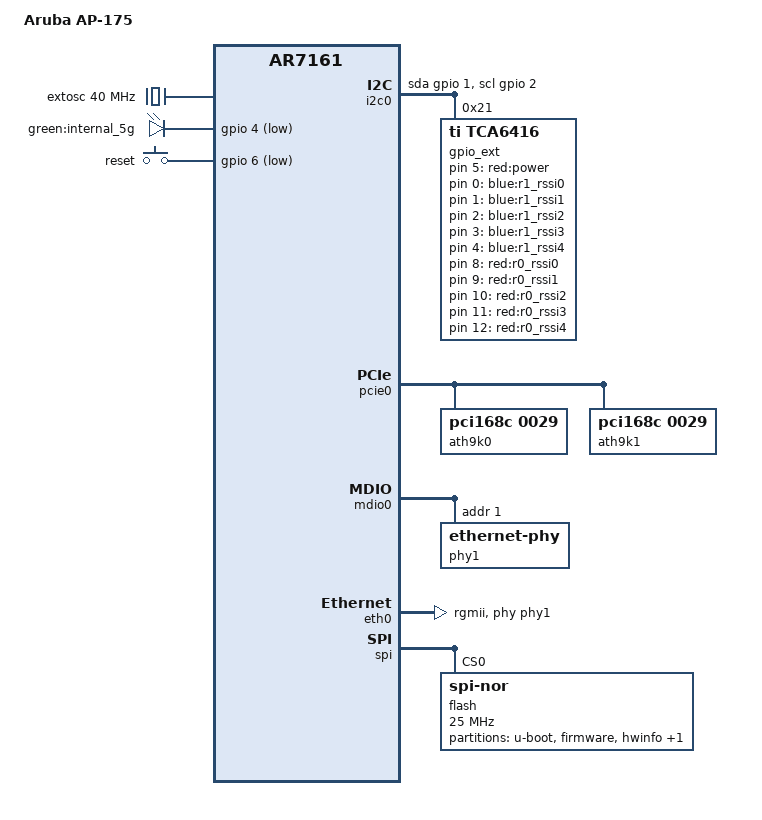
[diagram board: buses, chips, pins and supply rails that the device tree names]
// SPDX-License-Identifier: GPL-2.0-or-later OR MIT

#include "ar7100.dtsi"

#include <dt-bindings/gpio/gpio.h>
#include <dt-bindings/input/input.h>

/ {
	compatible = "aruba,ap-175", "qca,ar7161";
	model = "Aruba AP-175";

	chosen {
		bootargs = "console=ttyS0,9600";
	};

	aliases {
		led-boot = &led_power_red;
		led-failsafe = &led_power_red;
		led-upgrade = &led_power_red;
		label-mac-device = &eth0;
	};

	extosc: ref {
		compatible = "fixed-clock";
		#clock-cells = <0>;
		clock-output-names = "ref";
		clock-frequency = <40000000>;
	};

	leds {
		compatible = "gpio-leds";

		/* led_power_green: power_green { */
		/*	label = "green:power"; */
		/*	gpios = <&gpio 3 GPIO_ACTIVE_LOW>; */
		/* }; */

		led_power_red: power_red {
			label = "red:power";
			gpios = <&gpio_ext 5 GPIO_ACTIVE_HIGH>;
			panic-indicator;
		};

		/* These internal LEDs cannot be seen when case is closed */

		// TODO: find 2.4G address
		/* internal_2g_green { */
		/*	label = "green:internal_2g"; */
		/*	gpios = <&gpio 8 GPIO_ACTIVE_LOW>; */
		/* }; */

		internal_5g_green {
			label = "green:internal_5g";
			gpios = <&gpio 4 GPIO_ACTIVE_LOW>;
		};

		r1_rssi0_blue {
			label = "blue:r1_rssi0";
			gpios = <&gpio_ext 0 GPIO_ACTIVE_HIGH>;
		};

		r1_rssi1_blue {
			label = "blue:r1_rssi1";
			gpios = <&gpio_ext 1 GPIO_ACTIVE_HIGH>;
		};

		r1_rssi2_blue {
			label = "blue:r1_rssi2";
			gpios = <&gpio_ext 2 GPIO_ACTIVE_HIGH>;
		};

		r1_rssi3_blue {
			label = "blue:r1_rssi3";
			gpios = <&gpio_ext 3 GPIO_ACTIVE_HIGH>;
		};

		r1_rssi4_blue {
			label = "blue:r1_rssi4";
			gpios = <&gpio_ext 4 GPIO_ACTIVE_HIGH>;
		};

		r0_rssi0_red {
			label = "red:r0_rssi0";
			gpios = <&gpio_ext 8 GPIO_ACTIVE_HIGH>;
		};

		r0_rssi1_red {
			label = "red:r0_rssi1";
			gpios = <&gpio_ext 9 GPIO_ACTIVE_HIGH>;
		};

		r0_rssi2_red {
			label = "red:r0_rssi2";
			gpios = <&gpio_ext 10 GPIO_ACTIVE_HIGH>;
		};

		r0_rssi3_red {
			label = "red:r0_rssi3";
			gpios = <&gpio_ext 11 GPIO_ACTIVE_HIGH>;
		};

		r0_rssi4_red {
			label = "red:r0_rssi4";
			gpios = <&gpio_ext 12 GPIO_ACTIVE_HIGH>;
		};
	};

	keys {
		compatible = "gpio-keys";

		reset {
			label = "reset";
			linux,code = <KEY_RESTART>;
			gpios = <&gpio 6 GPIO_ACTIVE_LOW>;
		};
	};

	i2c0: i2c {
		compatible = "i2c-gpio";
		i2c-gpio,delay-us = <10>;
		i2c-gpio,timeout-ms = <1>;
		sda-gpios = <&gpio 1 (GPIO_ACTIVE_HIGH|GPIO_OPEN_DRAIN)>;
		scl-gpios = <&gpio 2 (GPIO_ACTIVE_HIGH|GPIO_OPEN_DRAIN)>;

		#address-cells = <1>;
		#size-cells = <0>;
	};
};

&pcie0 {
	status = "okay";

	ath9k0: wifi@0,11 { /* 2.4 GHz */
		compatible = "pci168c,0029";
		nvmem-cells = <&macaddr_hwinfo_1c>;
		nvmem-cell-names = "mac-address";
		mac-address-increment = <1>;
		reg = <0x8800 0 0 0 0>;
		#gpio-cells = <2>;
		gpio-controller;
	};

	ath9k1: wifi@0,12 { /* 5 GHz */
		compatible = "pci168c,0029";
		nvmem-cells = <&macaddr_hwinfo_1c>;
		nvmem-cell-names = "mac-address";
		mac-address-increment = <2>;
		reg = <0x9000 0 0 0 0>;
		#gpio-cells = <2>;
		gpio-controller;
	};
};

&mdio0 {
	status = "okay";

	phy1: ethernet-phy@1 {
		reg = <0x1>;
	};
};

&eth0 {
	status = "okay";
	nvmem-cells = <&macaddr_hwinfo_1c>;
	nvmem-cell-names = "mac-address";

//	pll-data = <0x00110000 0x00001099 0x00991099>;

	phy-mode = "rgmii";
	phy-handle = <&phy1>;
};

&spi {
	status = "okay";

	flash@0 {
		compatible = "jedec,spi-nor";
		reg = <0>;
		spi-max-frequency = <25000000>;

		partitions {
			compatible = "fixed-partitions";
			#address-cells = <1>;
			#size-cells = <1>;

			partition@0 {
				label = "u-boot";
				reg = <0x000000 0x40000>;
				read-only;
			};

			partition@40000 {
				label = "firmware";
				reg = <0x40000 0xfa0000>;
				compatible = "denx,uimage";
			};

			hwinfo: partition@fe0000 {
				label = "hwinfo";
				reg = <0xfe0000 0x10000>;
				read-only;
			};

			partition@ff0000 {
				label = "u-boot-env";
				reg = <0xff0000 0x10000>;
				read-only;
			};
		};
	};
};

&hwinfo {
	compatible = "nvmem-cells";
	#address-cells = <1>;
	#size-cells = <1>;

	macaddr_hwinfo_1c: macaddr@1c {
		reg = <0x1c 0x6>;
	};
};

&i2c0 {
	gpio_ext: gpio@21 {
		status = "okay";

		compatible = "ti,tca6416";
		reg = <0x21>;

		#address-cells = <1>;
		#size-cells = <0>;

		gpio-controller;
		#gpio-cells = <2>;
	};
};
